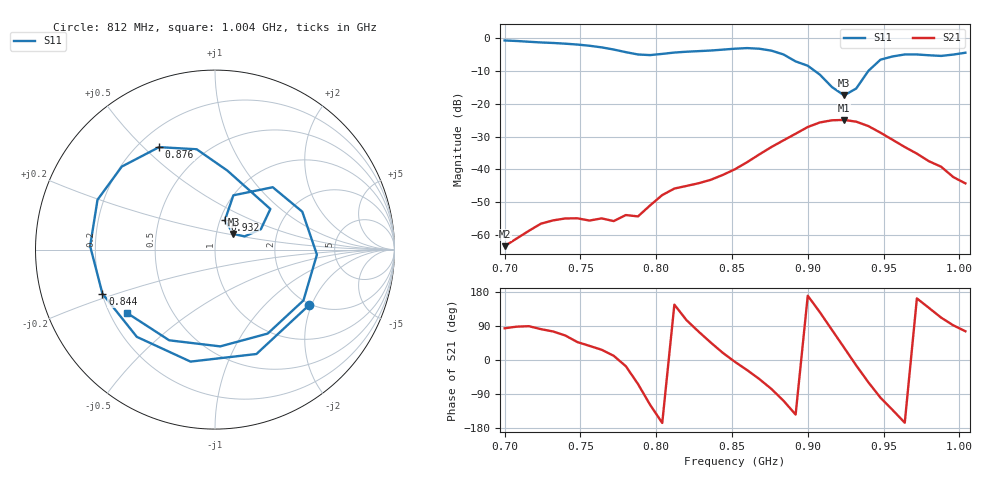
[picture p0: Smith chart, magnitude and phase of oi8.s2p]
# Hz S RI R 50
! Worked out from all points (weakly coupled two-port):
!   39 points, 700 MHz to 1.004 GHz, reference 50 ohm
!   highest |S21| = -24.89 dB at 924 MHz (marker M1); lowest = -63.4 dB at 700 MHz (marker M2)
!   lowest |S11| = -17.4 dB at 924 MHz (marker M3), VSWR 1.31, Z = 60.4 + j10.8 ohm
!   |S11| at or under -10 dB: 904.8 MHz to 939.9 MHz (35.03 MHz wide, 3.8 % of centre)
!   S12 and S22 are empty: the file has one direction only
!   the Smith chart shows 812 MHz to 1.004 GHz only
!   S11 on the Smith chart (normalised r, x): 812 MHz: 1.94, -1.91; 844 MHz: 0.20, -0.18; 876 MHz: 0.28, +0.56; 932 MHz: 1.06, +0.35; 1.004 GHz: 0.27, -0.30
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7e8  0.7654 0.5275  7.41e-05 0.00067  0 0  0 0
7.24e8  0.8267 -0.2594  0.000224 0.00147  0 0  0 0
7.4e8  0.4442 -0.7013  0.000763 0.00161  0 0  0 0
7.56e8  -0.1954 -0.7465  0.00132 0.00101  0 0  0 0
7.72e8  -0.6504 -0.1839  0.0016 0.000311  0 0  0 0
7.8e8  -0.5695 0.2347  0.00193 -0.00057  0 0  0 0
7.88e8  -0.2144 0.5259  0.00086 -0.00172  0 0  0 0
7.96e8  0.2669 0.4876  -0.00134 -0.00249  0 0  0 0
8.04e8  0.5655 0.1289  -0.00394 -0.000974  0 0  0 0
8.12e8  0.522 -0.3113  -0.00424 0.00285  0 0  0 0
8.28e8  -0.1364 -0.624  0.00161 0.00594  0 0  0 0
8.44e8  -0.627 -0.2458  0.00781 0.00265  0 0  0 0
8.52e8  -0.6957 0.0195  0.01 -0.000879  0 0  0 0
8.76e8  -0.3115 0.5709  0.0052 -0.0213  0 0  0 0
9e8  0.3084 0.2262  -0.0437 0.00804  0 0  0 0
9.08e8  0.2553 0.1135  -0.0306 0.0422  0 0  0 0
9.24e8  0.1024 0.0877  0.048 0.0306  0 0  0 0
9.32e8  0.055 0.1631  0.0518 -0.0135  0 0  0 0
9.48e8  0.3218 0.3474  -0.006 -0.0358  0 0  0 0
9.56e8  0.4863 0.2112  -0.0189 -0.021  0 0  0 0
9.8e8  0.2936 -0.4679  -0.00979 0.00903  0 0  0 0
1.004e9  -0.4904 -0.3527  0.00149 0.00594  0 0  0 0
